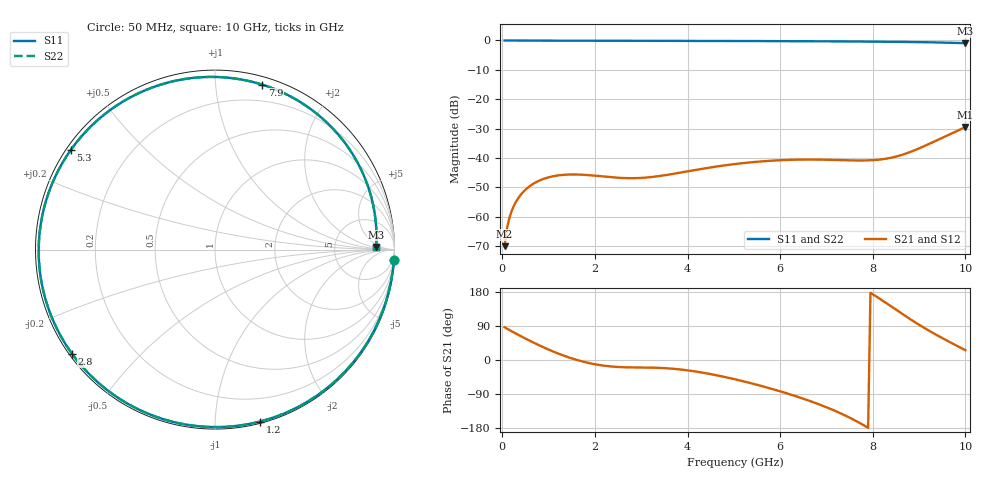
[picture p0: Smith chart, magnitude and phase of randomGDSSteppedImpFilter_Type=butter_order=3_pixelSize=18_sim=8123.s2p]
! freq	dB(S11)	phase(S11)	dB(S12)	phase(S12)
!  dB(S21)	phase(S21)	dB(S22)	phase(S22)
!S-par simulation data
#  GHz  S  DB  R 50
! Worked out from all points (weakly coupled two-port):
!   200 points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, 50 MHz to 10 GHz, reference 50 ohm
!   highest |S21| = -29.49 dB at 10 GHz (marker M1); lowest = -70.0 dB at 50 MHz (marker M2)
!   lowest |S11| = -0.9 dB at 10 GHz (marker M3), VSWR 18.57, Z = 908 + j135 ohm
!   |S11| at or under -10 dB: nowhere
!   |S22| runs from -0.9 to 0.0 dB; largest |S21 - S12| = 0
!   S11 on the Smith chart (normalised r, x): 50 MHz: 1, -35; 1.2 GHz: 0.01, -1.30; 2.8 GHz: 0.01, -0.33; 5.3 GHz: 0.01, +0.31; 7.9 GHz: 0.06, +1.33; 10 GHz: 18, +3
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0.05  -0.01 -3.3  -70.00 86.4  -70.00 86.4  -0.01 -3.3
0.1  -0.02 -6.7  -64.02 82.8  -64.02 82.8  -0.02 -6.7
0.15  -0.03 -10.1  -60.56 79.3  -60.56 79.3  -0.03 -10.1
0.25  -0.04 -16.8  -56.28 72.6  -56.28 72.6  -0.04 -16.8
0.4  -0.05 -26.8  -52.50 62.8  -52.50 62.8  -0.05 -26.8
0.6  -0.05 -39.8  -49.50 50.4  -49.50 50.4  -0.05 -39.8
0.8  -0.07 -52.3  -47.68 38.5  -47.68 38.5  -0.07 -52.3
1.2  -0.09 -75.3  -45.94 17.4  -45.94 17.4  -0.09 -75.3
1.75  -0.11 -102.7  -45.71 -4.5  -45.71 -4.5  -0.11 -102.7
2.25  -0.12 -123.8  -46.39 -15.8  -46.39 -15.8  -0.12 -123.8
2.8  -0.13 -143.8  -46.87 -19.6  -46.87 -19.6  -0.13 -143.8
3.4  -0.14 -163.0  -46.12 -20.8  -46.12 -20.8  -0.14 -163.0
4.2  -0.16 174.2  -43.99 -30.8  -43.99 -30.8  -0.16 174.2
5.05  -0.19 151.7  -42.00 -51.6  -42.00 -51.6  -0.19 151.7
5.3  -0.21 145.3  -41.57 -59.1  -41.57 -59.1  -0.21 145.3
6.05  -0.24 125.8  -40.72 -84.5  -40.72 -84.5  -0.24 125.8
6.7  -0.28 108.4  -40.53 -110.7  -40.53 -110.7  -0.28 108.4
7.3  -0.33 91.7  -40.72 -140.5  -40.72 -140.5  -0.33 91.7
7.9  -0.39 74.0  -40.81 -179.0  -40.81 -179.0  -0.39 74.0
8.35  -0.45 60.0  -40.06 145.4  -40.06 145.4  -0.45 60.0
9.25  -0.64 29.5  -34.97 74.8  -34.97 74.8  -0.64 29.5
10  -0.94 0.9  -29.49 25.9  -29.49 25.9  -0.94 1.0
